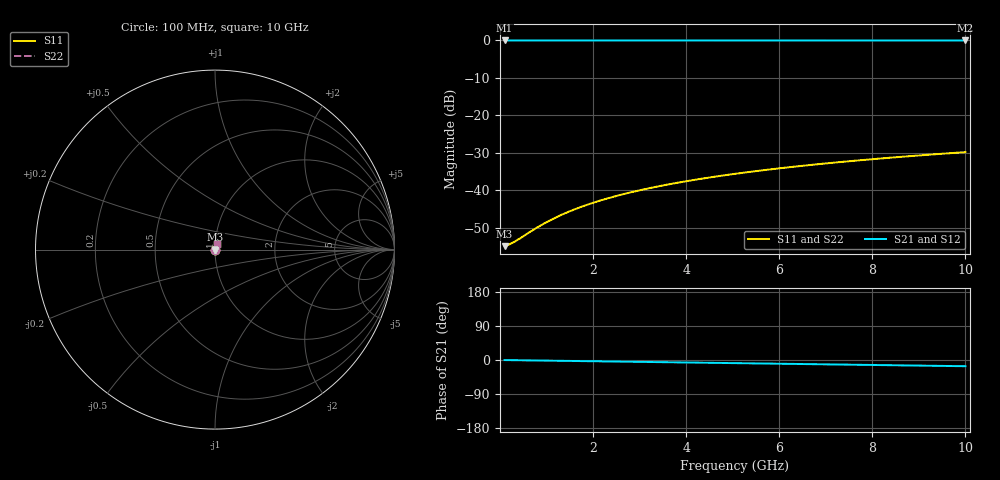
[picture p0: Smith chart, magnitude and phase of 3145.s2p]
# Hz S RI R 50.00
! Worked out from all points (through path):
!   100 points, 100 MHz to 10 GHz, reference 50 ohm
!   highest |S21| = -0.02 dB at 100 MHz (marker M1); lowest = 0.0 dB at 10 GHz (marker M2)
!   group delay of S21, straight-line fit = 4.56 ps
!   lowest |S11| = -54.9 dB at 100 MHz (marker M3), VSWR 1.00, Z = 50.2 + j0.0323 ohm
!   |S11| at or under -10 dB: start of sweep to end of sweep
!   |S22| runs from -54.9 to -29.8 dB; largest |S21 - S12| = 0
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1e8  0.00176 0.000322  0.9982 -0.00285  0.9982 -0.00285  0.00176 0.000322
2e8  0.00178 0.000645  0.9982 -0.0057  0.9982 -0.0057  0.00178 0.000645
3e8  0.00179 0.000967  0.9982 -0.00855  0.9982 -0.00855  0.00179 0.000967
8e8  0.00186 0.00258  0.9979 -0.0228  0.9979 -0.0228  0.00186 0.00258
9e8  0.00188 0.0029  0.9978 -0.0257  0.9978 -0.0257  0.00188 0.0029
1.1e9  0.00192 0.00354  0.9977 -0.0314  0.9977 -0.0314  0.00192 0.00354
1.4e9  0.002 0.0045  0.9973 -0.0399  0.9973 -0.0399  0.002 0.0045
1.6e9  0.00206 0.00514  0.9971 -0.0456  0.9971 -0.0456  0.00206 0.00514
1.8e9  0.00212 0.00578  0.9968 -0.0513  0.9968 -0.0513  0.00212 0.00578
2.1e9  0.00223 0.00674  0.9963 -0.0598  0.9963 -0.0598  0.00223 0.00674
2.5e9  0.00241 0.00802  0.9955 -0.0712  0.9955 -0.0712  0.00241 0.00802
2.9e9  0.00261 0.00929  0.9946 -0.0826  0.9946 -0.0826  0.00261 0.00929
3.4e9  0.00291 0.0109  0.9933 -0.0968  0.9933 -0.0968  0.00291 0.0109
3.8e9  0.00318 0.0121  0.9921 -0.1082  0.9921 -0.1082  0.00318 0.0121
4.2e9  0.00347 0.0134  0.9908 -0.1195  0.9908 -0.1195  0.00347 0.0134
4.6e9  0.0038 0.0146  0.9893 -0.1309  0.9893 -0.1309  0.0038 0.0146
5.1e9  0.00424 0.0162  0.9873 -0.145  0.9873 -0.145  0.00424 0.0162
5.9e9  0.00505 0.0186  0.9836 -0.1676  0.9836 -0.1676  0.00505 0.0186
6.7e9  0.00597 0.021  0.9795 -0.1901  0.9795 -0.1901  0.00597 0.021
7.5e9  0.00699 0.0233  0.9748 -0.2125  0.9748 -0.2125  0.00699 0.0233
8.4e9  0.00828 0.0259  0.9688 -0.2376  0.9688 -0.2376  0.00828 0.0259
1e10  0.0109 0.0303  0.9567 -0.2818  0.9567 -0.2818  0.0109 0.0303
